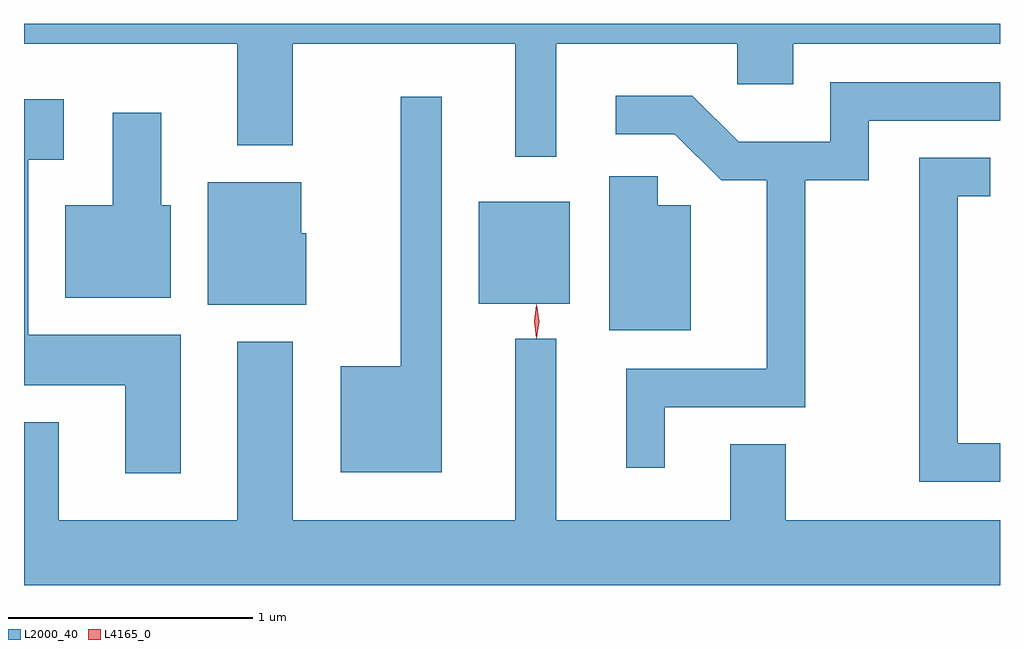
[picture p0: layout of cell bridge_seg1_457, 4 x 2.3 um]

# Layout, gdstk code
import gdstk
lib = gdstk.Library(unit=1e-6, precision=1e-09)
def R(c, l, rs):  # rectangles x0, y0, x1, y1
    for r in rs: c.add(gdstk.rectangle(r[:2], r[2:], *l))
def P(c, l, *ps):  # polygons
    for p in ps: c.add(gdstk.Polygon(p, *l))
L2000_40 = (2000, 40)
L4165_0 = (4165, 0)

bridge_seg1_457 = lib.new_cell('bridge_seg1_457')
R(bridge_seg1_457, L2000_40, [(257.671,854.111,258.044,854.529)])
P(bridge_seg1_457, L2000_40, [(257.989,855.176),(258.731,855.176),(258.731,855.011),(258.959,855.011),(258.959,855.176),(259.807,855.176),(259.807,855.259),(255.807,855.259),(255.807,855.176),(256.681,855.176),(256.681,854.761),(256.909,854.761),(256.909,855.176),(257.821,855.176),(257.821,854.713),(257.989,854.713)],
  [(258.434,853.686),(259.009,853.686),(259.009,854.616),(259.269,854.616),(259.269,854.861),(259.807,854.861),(259.807,855.019),(259.111,855.019),(259.111,854.774),(258.736,854.774),(258.546,854.964),(258.233,854.964),(258.233,854.806),(258.474,854.806),(258.664,854.616),(258.851,854.616),(258.851,853.844),(258.276,853.844),(258.276,853.438),(258.434,853.438)],
  [(257.519,854.958),(257.351,854.958),(257.351,853.854),(257.106,853.854),(257.106,853.421),(257.519,853.421)],
  [(256.449,853.984),(255.824,853.984),(255.824,854.701),(255.969,854.701),(255.969,854.949),(255.807,854.949),(255.807,853.776),(256.221,853.776),(256.221,853.416),(256.449,853.416)],
  [(256.409,854.514),(256.369,854.514),(256.369,854.894),(256.171,854.894),(256.171,854.514),(255.976,854.514),(255.976,854.136),(256.409,854.136)],
  [(259.807,853.539),(259.634,853.539),(259.634,854.551),(259.767,854.551),(259.767,854.709),(259.476,854.709),(259.476,853.381),(259.807,853.381)],
  [(258.539,854.514),(258.404,854.514),(258.404,854.634),(258.206,854.634),(258.206,854.001),(258.539,854.001)],
  [(256.964,854.399),(256.944,854.399),(256.944,854.609),(256.561,854.609),(256.561,854.106),(256.964,854.106)],
  [(259.807,853.224),(258.929,853.224),(258.929,853.534),(258.701,853.534),(258.701,853.224),(257.989,853.224),(257.989,853.968),(257.821,853.968),(257.821,853.224),(256.909,853.224),(256.909,853.954),(256.681,853.954),(256.681,853.224),(255.949,853.224),(255.949,853.624),(255.807,853.624),(255.807,852.956),(259.807,852.956)])
P(bridge_seg1_457, L4165_0, [(257.907,853.973),(257.898,854.037),(257.907,854.101),(257.908,854.102),(257.908,854.101),(257.918,854.037),(257.908,853.973),(257.908,853.973)],
  [(257.907,853.97),(257.898,854.038),(257.907,854.106),(257.908,854.106),(257.908,854.106),(257.918,854.038),(257.908,853.97),(257.908,853.97)])

lib.write_gds('bridge_seg1_457.gds')
